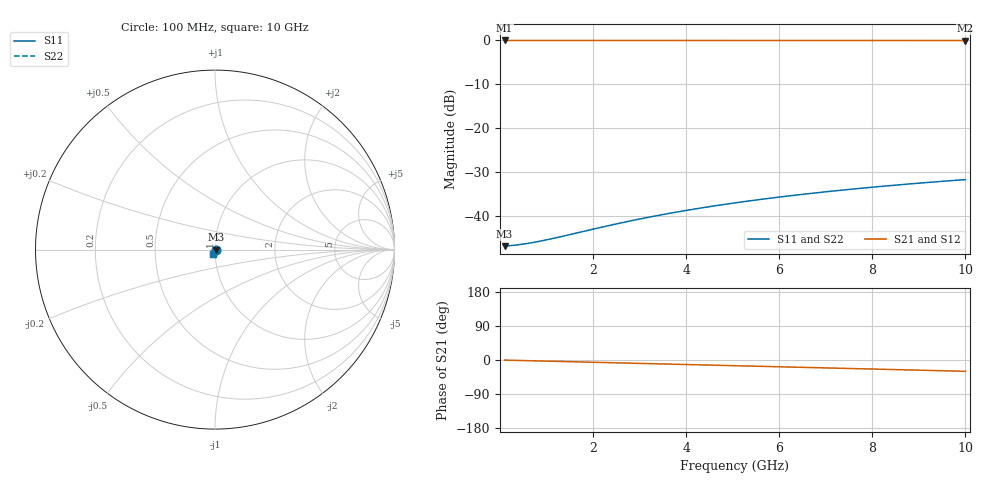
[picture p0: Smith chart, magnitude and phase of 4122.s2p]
# Hz S RI R 50.00
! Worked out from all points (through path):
!   100 points, 100 MHz to 10 GHz, reference 50 ohm
!   highest |S21| = -0.04 dB at 100 MHz (marker M1); lowest = -0.1 dB at 10 GHz (marker M2)
!   group delay of S21, straight-line fit = 8.29 ps
!   lowest |S11| = -46.9 dB at 100 MHz (marker M3), VSWR 1.01, Z = 50.5 - j0.0291 ohm
!   |S11| at or under -10 dB: start of sweep to end of sweep
!   |S22| runs from -46.9 to -31.7 dB; largest |S21 - S12| = 0
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1e8  0.00452 -0.000289  0.9955 -0.00518  0.9955 -0.00518  0.00452 -0.000289
4e8  0.00456 -0.00116  0.9952 -0.0207  0.9952 -0.0207  0.00456 -0.00116
6e8  0.00456 -0.00173  0.9949 -0.0311  0.9949 -0.0311  0.00456 -0.00173
8e8  0.00454 -0.00231  0.9945 -0.0414  0.9945 -0.0414  0.00454 -0.00231
1e9  0.0045 -0.00289  0.994 -0.0518  0.994 -0.0518  0.0045 -0.00289
1.2e9  0.00445 -0.00346  0.9933 -0.0621  0.9933 -0.0621  0.00445 -0.00346
1.8e9  0.00422 -0.00518  0.9908 -0.0931  0.9908 -0.0931  0.00422 -0.00518
2.2e9  0.004 -0.00632  0.9886 -0.1136  0.9886 -0.1136  0.004 -0.00632
2.6e9  0.00374 -0.00745  0.986 -0.1342  0.986 -0.1342  0.00374 -0.00745
3e9  0.00343 -0.00857  0.983 -0.1547  0.983 -0.1547  0.00343 -0.00857
3.4e9  0.00307 -0.00967  0.9795 -0.1751  0.9795 -0.1751  0.00307 -0.00967
3.8e9  0.00267 -0.0108  0.9756 -0.1954  0.9756 -0.1954  0.00267 -0.0108
4.2e9  0.00223 -0.0118  0.9713 -0.2157  0.9713 -0.2157  0.00223 -0.0118
4.6e9  0.00174 -0.0129  0.9665 -0.2359  0.9665 -0.2359  0.00174 -0.0129
5.1e9  0.00107 -0.0142  0.96 -0.2609  0.96 -0.2609  0.00107 -0.0142
5.5e9  0.000484 -0.0152  0.9543 -0.2809  0.9543 -0.2809  0.000484 -0.0152
5.9e9  -0.00014 -0.0162  0.9482 -0.3007  0.9482 -0.3007  -0.00014 -0.0162
6.7e9  -0.00151 -0.018  0.9348 -0.3399  0.9348 -0.3399  -0.00151 -0.018
7.5e9  -0.00302 -0.0198  0.9197 -0.3785  0.9197 -0.3785  -0.00302 -0.0198
8.4e9  -0.00489 -0.0217  0.9008 -0.4212  0.9008 -0.4212  -0.00489 -0.0217
9.2e9  -0.00668 -0.0231  0.8824 -0.4583  0.8824 -0.4583  -0.00668 -0.0231
1e10  -0.00859 -0.0245  0.8624 -0.4946  0.8624 -0.4946  -0.00859 -0.0245
